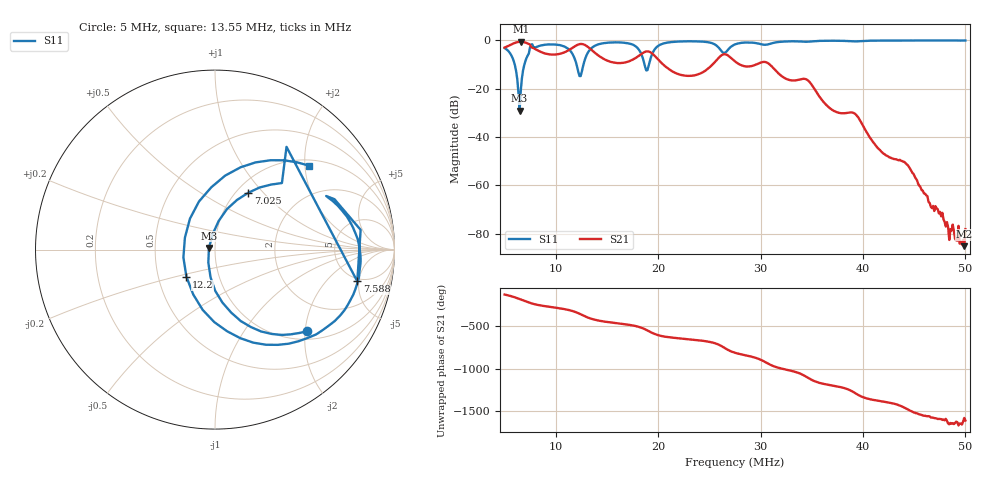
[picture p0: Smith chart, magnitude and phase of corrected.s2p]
! S11/S21 only; reverse parameters are placeholders. Device calibration unverified.
! [Saver CAL applied] C:\Users\aknya\MyProjects\rf-simulator\calibration2.cal | Ideal standards assumed | Input: NanoVNA F V2 profile | COM3 | 2026-09-08T11:53:50.4517263-04:00 | device calibration unverified
# HZ S RI R 50
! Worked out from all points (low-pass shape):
!   401 points, 5 MHz to 50 MHz, reference 50 ohm
!   highest |S21| = -0.67 dB at 6.575 MHz (marker M1); lowest = -85.1 dB at 49.89 MHz (marker M2)
!   |S21| within 3 dB of the highest: start of sweep to 7.979 MHz; 11.45 MHz to 13.38 MHz (1.929 MHz wide, 15.5 % of centre)
!   lowest |S11| = -29.1 dB at 6.463 MHz (marker M3), VSWR 1.07, Z = 46.7 + j0.78 ohm
!   |S11| at or under -10 dB: 5.979 MHz to 6.939 MHz (959.4 kHz wide, 14.9 % of centre); 12.02 MHz to 12.71 MHz (691.9 kHz wide, 5.6 % of centre); 18.66 MHz to 19.1 MHz (443.8 kHz wide, 2.35 % of centre)
!   S12 and S22 are empty: the file has one direction only
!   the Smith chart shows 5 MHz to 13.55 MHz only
!   S11 on the Smith chart (normalised r, x): 5 MHz: 1.19, -2.05; 7.025 MHz: 1.13, +0.83; 7.588 MHz: 4.58, -4.77; 12.2 MHz: 0.70, -0.22; 13.55 MHz: 1.14, +2.09
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5000000  0.5139 -0.4552  -0.4346 -0.5498  0 0  0 0
6462500  -0.0339 0.00834  -0.9243 0.0221  0 0  0 0
6575000  -0.0126 0.0867  -0.9197 0.1076  0 0  0 0
7025000  0.1849 0.3165  -0.7908 0.4056  0 0  0 0
7587500  0.7928 -0.1769  -0.4666 0.5498  0 0  0 0
1.0175e7  0.7388 -0.3099  0.1465 0.4886  0 0  0 0
1.14125e7  0.2842 -0.5302  0.4562 0.4595  0 0  0 0
1.22e7  -0.1591 -0.1512  0.7928 0.1698  0 0  0 0
1.25375e7  -0.1395 0.1725  0.825 -0.0995  0 0  0 0
1.355e7  0.5224 0.4681  0.3384 -0.5079  0 0  0 0
1.58e7  0.887 -0.1407  -0.0771 -0.3312  0 0  0 0
1.79375e7  0.3281 -0.6203  -0.3578 -0.2669  0 0  0 0
1.88375e7  -0.235 -0.0201  -0.5812 0.0431  0 0  0 0
2.0075e7  0.6426 0.438  -0.1358 0.3562  0 0  0 0
2.3225e7  0.9154 -0.2313  0.0838 0.1629  0 0  0 0
2.615e7  0.4798 -0.3669  0.4673 -0.1056  0 0  0 0
2.75e7  0.786 -0.2217  -0.0202 -0.3627  0 0  0 0
3.09875e7  0.7429 -0.4057  -0.1641 0.2514  0 0  0 0
3.50375e7  0.6901 -0.6369  0.0661 -0.095  0 0  0 0
4.2575e7  0.4432 -0.8696  0.00297 0.00238  0 0  0 0
4.98875e7  0.1623 -0.9654  -4.28e-05 -3.56e-05  0 0  0 0
5e7  0.1565 -0.9683  -0.000124 -2.1e-05  0 0  0 0
